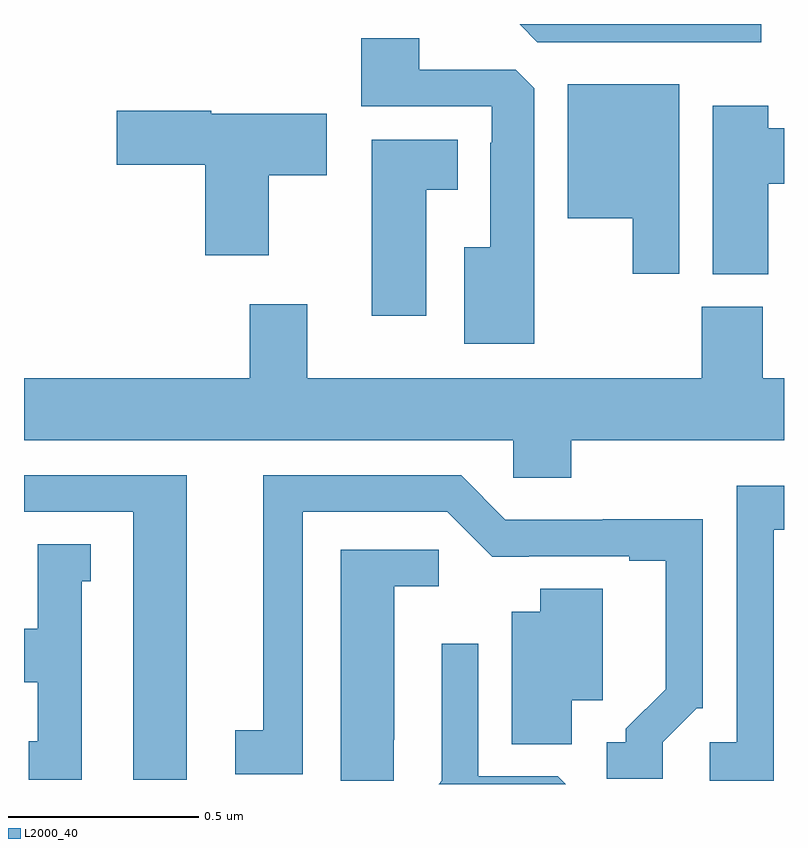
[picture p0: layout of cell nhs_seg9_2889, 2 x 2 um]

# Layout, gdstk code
import gdstk
lib = gdstk.Library(unit=1e-6, precision=1e-09)
def P(c, l, *ps):  # polygons
    for p in ps: c.add(gdstk.Polygon(p, *l))
L2000_40 = (2000, 40)

nhs_seg9_2889 = lib.new_cell('nhs_seg9_2889')
P(nhs_seg9_2889, L2000_40, [(147.94,1213.5),(147.304,1213.5),(147.351,1213.452),(147.94,1213.452)],
  [(147.343,1213.331),(147.294,1213.38),(147.04,1213.38),(147.04,1213.463),(146.888,1213.463),(146.888,1213.284),(147.231,1213.284),(147.231,1213.187),(147.227,1213.187),(147.227,1212.913),(147.158,1212.913),(147.158,1212.659),(147.343,1212.659)],
  [(147.724,1213.342),(147.431,1213.342),(147.431,1212.989),(147.602,1212.989),(147.602,1212.843),(147.724,1212.843)],
  [(147.959,1213.079),(148,1213.079),(148,1213.226),(147.959,1213.226),(147.959,1213.285),(147.812,1213.285),(147.812,1212.841),(147.959,1212.841)],
  [(146.644,1213.102),(146.797,1213.102),(146.797,1213.264),(146.493,1213.264),(146.493,1213.272),(146.244,1213.272),(146.244,1213.13),(146.477,1213.13),(146.477,1212.891),(146.644,1212.891)],
  [(147.058,1213.064),(147.142,1213.064),(147.142,1213.195),(146.915,1213.195),(146.915,1212.732),(147.058,1212.732)],
  [(147.44,1212.404),(148,1212.404),(148,1212.568),(147.944,1212.568),(147.944,1212.756),(147.784,1212.756),(147.784,1212.568),(146.746,1212.568),(146.746,1212.763),(146.594,1212.763),(146.594,1212.568),(146,1212.568),(146,1212.404),(147.288,1212.404),(147.288,1212.306),(147.44,1212.306)],
  [(147.681,1211.61),(147.771,1211.7),(147.786,1211.7),(147.786,1212.197),(147.523,1212.197),(147.523,1212.195),(147.267,1212.195),(147.15,1212.312),(146.63,1212.312),(146.63,1211.642),(146.556,1211.642),(146.556,1211.526),(146.734,1211.526),(146.734,1212.216),(147.114,1212.216),(147.232,1212.098),(147.328,1212.098),(147.328,1212.099),(147.593,1212.099),(147.593,1212.087),(147.689,1212.087),(147.689,1211.75),(147.584,1211.645),(147.584,1211.61),(147.534,1211.61),(147.534,1211.514),(147.681,1211.514)],
  [(146.428,1212.312),(146,1212.312),(146,1212.216),(146.288,1212.216),(146.288,1211.511),(146.428,1211.511)],
  [(147.973,1212.169),(148,1212.169),(148,1212.285),(147.876,1212.285),(147.876,1211.61),(147.804,1211.61),(147.804,1211.509),(147.973,1211.509)],
  [(146.152,1212.033),(146.176,1212.033),(146.176,1212.131),(146.036,1212.131),(146.036,1211.908),(146,1211.908),(146,1211.768),(146.036,1211.768),(146.036,1211.613),(146.012,1211.613),(146.012,1211.511),(146.152,1211.511)],
  [(146.973,1211.617),(146.974,1211.617),(146.974,1212.02),(147.091,1212.02),(147.091,1212.117),(146.834,1212.117),(146.834,1211.509),(146.973,1211.509)],
  [(147.442,1211.72),(147.523,1211.72),(147.523,1212.014),(147.359,1212.014),(147.359,1211.953),(147.284,1211.953),(147.284,1211.605),(147.442,1211.605)],
  [(147.405,1211.52),(147.195,1211.52),(147.195,1211.869),(147.099,1211.869),(147.099,1211.508),(147.091,1211.5),(147.425,1211.5)])

lib.write_gds('nhs_seg9_2889.gds')
